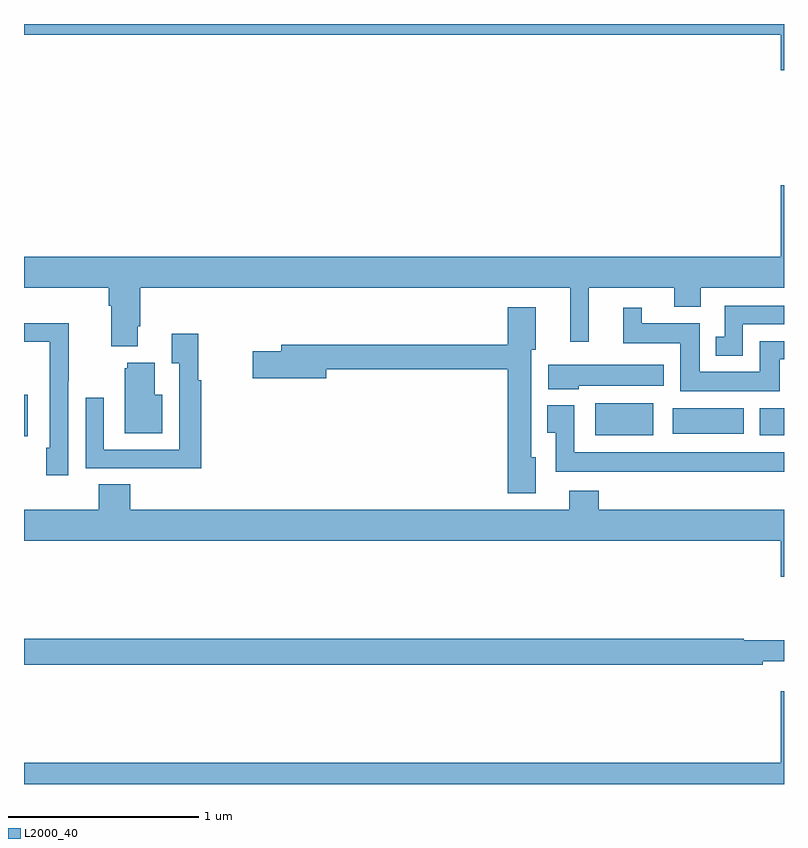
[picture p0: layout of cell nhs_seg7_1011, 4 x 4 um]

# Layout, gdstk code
import gdstk
lib = gdstk.Library(unit=1e-6, precision=1e-09)
def R(c, l, rs):  # rectangles x0, y0, x1, y1
    for r in rs: c.add(gdstk.rectangle(r[:2], r[2:], *l))
def P(c, l, *ps):  # polygons
    for p in ps: c.add(gdstk.Polygon(p, *l))
L2000_40 = (2000, 40)

nhs_seg7_1011 = lib.new_cell('nhs_seg7_1011')
R(nhs_seg7_1011, L2000_40, [(185,1003.831,185.02,1004.05), (188.006,1003.835,188.311,1004.005), (188.873,1003.835,189,1003.978), (188.415,1003.844,188.788,1003.978)])
P(nhs_seg7_1011, L2000_40, [(189,1006),(185,1006),(185,1005.944),(188.984,1005.944),(188.984,1005.756),(189,1005.756)],
  [(185.599,1004.41),(185.612,1004.41),(185.612,1004.612),(187.874,1004.612),(187.874,1004.328),(187.973,1004.328),(187.973,1004.612),(188.423,1004.612),(188.423,1004.513),(188.563,1004.513),(188.563,1004.612),(189,1004.612),(189,1005.151),(188.984,1005.151),(188.984,1004.776),(185,1004.776),(185,1004.612),(185.447,1004.612),(185.447,1004.516),(185.459,1004.516),(185.459,1004.303),(185.599,1004.303)],
  [(188.784,1004.421),(189,1004.421),(189,1004.517),(188.688,1004.517),(188.688,1004.355),(188.642,1004.355),(188.642,1004.255),(188.784,1004.255)],
  [(187.693,1003.719),(187.669,1003.719),(187.669,1004.286),(187.693,1004.286),(187.693,1004.509),(187.547,1004.509),(187.547,1004.311),(186.353,1004.311),(186.353,1004.277),(186.204,1004.277),(186.204,1004.135),(186.592,1004.135),(186.592,1004.182),(187.547,1004.182),(187.547,1003.529),(187.693,1003.529)],
  [(188.977,1004.235),(189,1004.235),(189,1004.331),(188.873,1004.331),(188.873,1004.17),(188.557,1004.17),(188.557,1004.425),(188.251,1004.425),(188.251,1004.506),(188.153,1004.506),(188.153,1004.321),(188.453,1004.321),(188.453,1004.066),(188.977,1004.066)],
  [(185.232,1004.119),(185.235,1004.119),(185.235,1004.426),(185,1004.426),(185,1004.328),(185.136,1004.328),(185.136,1003.77),(185.117,1003.77),(185.117,1003.626),(185.232,1003.626)],
  [(185.933,1004.126),(185.918,1004.126),(185.918,1004.371),(185.777,1004.371),(185.777,1004.215),(185.817,1004.215),(185.817,1003.758),(185.421,1003.758),(185.421,1004.032),(185.325,1004.032),(185.325,1003.662),(185.641,1003.662),(185.641,1003.661),(185.933,1003.661)],
  [(185.728,1004.05),(185.689,1004.05),(185.689,1004.218),(185.543,1004.218),(185.543,1004.187),(185.531,1004.187),(185.531,1003.847),(185.728,1003.847)],
  [(187.92,1004.096),(188.368,1004.096),(188.368,1004.206),(187.758,1004.206),(187.758,1004.078),(187.92,1004.078)],
  [(189,1003.747),(187.896,1003.747),(187.896,1003.993),(187.754,1003.993),(187.754,1003.849),(187.799,1003.849),(187.799,1003.643),(189,1003.643)],
  [(189,1003.444),(188.024,1003.444),(188.024,1003.543),(187.871,1003.543),(187.871,1003.444),(185.558,1003.444),(185.558,1003.577),(185.393,1003.577),(185.393,1003.444),(185,1003.444),(185,1003.28),(188.984,1003.28),(188.984,1003.092),(189,1003.092)],
  [(188.888,1002.647),(189,1002.647),(189,1002.757),(188.788,1002.757),(188.788,1002.764),(185,1002.764),(185,1002.628),(188.888,1002.628)],
  [(189,1002.487),(188.984,1002.487),(188.984,1002.112),(185,1002.112),(185,1002),(189,1002)])

lib.write_gds('nhs_seg7_1011.gds')
